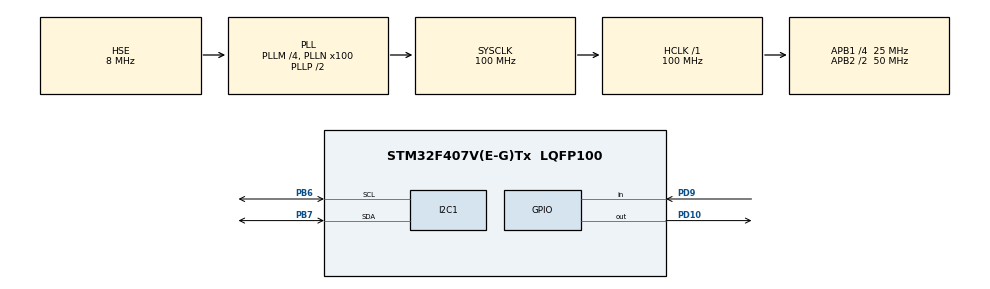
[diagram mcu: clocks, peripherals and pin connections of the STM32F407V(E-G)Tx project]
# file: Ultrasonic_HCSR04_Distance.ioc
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Mcu.Family=STM32F4
Mcu.Name=STM32F407V(E-G)Tx
Mcu.Package=LQFP100
NVIC.PriorityGroup=NVIC_PRIORITYGROUP_4
NVIC.TIM2_IRQn=true\:0\:0\:false\:false\:true\:true\:true\:true
PB6.Mode=I2C
PB6.Signal=I2C1_SCL
PB7.Mode=I2C
PB7.Signal=I2C1_SDA
PD10.Signal=GPIO_Output
PD9.Signal=GPIO_Input
PH0-OSC_IN.Mode=HSE-External-Oscillator
PH0-OSC_IN.Signal=RCC_OSC_IN
PH1-OSC_OUT.Mode=HSE-External-Oscillator
PH1-OSC_OUT.Signal=RCC_OSC_OUT
ProjectManager.HeapSize=0x200
ProjectManager.StackSize=0x400
ProjectManager.TargetToolchain=STM32CubeIDE
RCC.48MHZClocksFreq_Value=50000000
RCC.AHBFreq_Value=100000000
RCC.APB1CLKDivider=RCC_HCLK_DIV4
RCC.APB1Freq_Value=25000000
RCC.APB1TimFreq_Value=50000000
RCC.APB2CLKDivider=RCC_HCLK_DIV2
RCC.APB2Freq_Value=50000000
RCC.APB2TimFreq_Value=100000000
RCC.CortexFreq_Value=100000000
RCC.HCLKFreq_Value=100000000
RCC.HSE_VALUE=8000000
RCC.HSI_VALUE=16000000
RCC.LSE_VALUE=32768
RCC.PLLM=4
RCC.PLLN=100
RCC.PLLSourceVirtual=RCC_PLLSOURCE_HSE
RCC.SYSCLKFreq_VALUE=100000000
RCC.SYSCLKSource=RCC_SYSCLKSOURCE_PLLCLK
RCC.VCOOutputFreq_Value=200000000
TIM2.Prescaler=95
VP_TIM2_VS_ClockSourceINT.Mode=Internal
board=custom

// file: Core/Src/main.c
/* USER CODE BEGIN Header */
/**
  ******************************************************************************
  * @file           : main.c
  * @brief          : Main program body
  ******************************************************************************
  */
/* USER CODE END Header */
#include "main.h"

/* USER CODE BEGIN Includes */
#include "lcd_i2c.h"
/* USER CODE END Includes */

I2C_HandleTypeDef hi2c1;

TIM_HandleTypeDef htim2;

/* USER CODE BEGIN PV */
int Time_taken;
int distance;
/* USER CODE END PV */

void SystemClock_Config(void);
static void MX_GPIO_Init(void);
static void MX_I2C1_Init(void);
static void MX_TIM2_Init(void);

/* USER CODE BEGIN 0 */
void delay(int var)
{
	__HAL_TIM_SET_COUNTER(&htim2,0);
	while(__HAL_TIM_GET_COUNTER(&htim2) < var);
}
 // Track LED state
/* USER CODE END 0 */

int main(void)
{

  /* MCU Configuration--------------------------------------------------------*/

  /* Reset of all peripherals, Initializes the Flash interface and the Systick. */
  HAL_Init();

  /* Configure the system clock */
  SystemClock_Config();

  /* Initialize all configured peripherals */
  MX_GPIO_Init();
  MX_I2C1_Init();
  MX_TIM2_Init();
  /* USER CODE BEGIN 2 */
  HAL_TIM_Base_Start_IT(&htim2);
  LCD_Init(&hi2c1);
  /* USER CODE END 2 */

  /* Infinite loop */
  /* USER CODE BEGIN WHILE */

  while (1)
  {
	  LCD_Clear();
	  LCD_Set_Cursor(0,0);
	  LCD_Send_String("Distance:");

	  HAL_GPIO_WritePin(GPIOD, GPIO_PIN_10, GPIO_PIN_SET);
	  delay(10);
	  HAL_GPIO_WritePin(GPIOD, GPIO_PIN_10, GPIO_PIN_RESET);

	  while(HAL_GPIO_ReadPin(GPIOD, GPIO_PIN_9)== GPIO_PIN_RESET);
	  	  __HAL_TIM_SET_COUNTER(&htim2,0);

	  while(HAL_GPIO_ReadPin(GPIOD, GPIO_PIN_9)== GPIO_PIN_SET);
	  	  Time_taken = __HAL_TIM_GET_COUNTER(&htim2);

	  distance = (Time_taken * 0.0343) / 2;

	  LCD_Set_Cursor(0,9);
	  LCD_Send_Integer(distance);
	  LCD_Send_String(" cm");

	  HAL_Delay(1000);
    /* USER CODE END WHILE */

  }
}

void SystemClock_Config(void)
{
  RCC_OscInitTypeDef RCC_OscInitStruct = {0};
  RCC_ClkInitTypeDef RCC_ClkInitStruct = {0};

  /** Configure the main internal regulator output voltage
  */
  __HAL_RCC_PWR_CLK_ENABLE();
  __HAL_PWR_VOLTAGESCALING_CONFIG(PWR_REGULATOR_VOLTAGE_SCALE1);

  /** Initializes the RCC Oscillators according to the specified parameters
  * in the RCC_OscInitTypeDef structure.
  */
  RCC_OscInitStruct.OscillatorType = RCC_OSCILLATORTYPE_HSE;
  RCC_OscInitStruct.HSEState = RCC_HSE_ON;
  RCC_OscInitStruct.PLL.PLLState = RCC_PLL_ON;
  RCC_OscInitStruct.PLL.PLLSource = RCC_PLLSOURCE_HSE;
  RCC_OscInitStruct.PLL.PLLM = 4;
  RCC_OscInitStruct.PLL.PLLN = 100;
  RCC_OscInitStruct.PLL.PLLP = RCC_PLLP_DIV2;
  RCC_OscInitStruct.PLL.PLLQ = 4;
  if (HAL_RCC_OscConfig(&RCC_OscInitStruct) != HAL_OK)
  {
    Error_Handler();
  }

  /** Initializes the CPU, AHB and APB buses clocks
  */
  RCC_ClkInitStruct.ClockType = RCC_CLOCKTYPE_HCLK|RCC_CLOCKTYPE_SYSCLK
                              |RCC_CLOCKTYPE_PCLK1|RCC_CLOCKTYPE_PCLK2;
  RCC_ClkInitStruct.SYSCLKSource = RCC_SYSCLKSOURCE_PLLCLK;
  RCC_ClkInitStruct.AHBCLKDivider = RCC_SYSCLK_DIV1;
  RCC_ClkInitStruct.APB1CLKDivider = RCC_HCLK_DIV4;
  RCC_ClkInitStruct.APB2CLKDivider = RCC_HCLK_DIV2;

  if (HAL_RCC_ClockConfig(&RCC_ClkInitStruct, FLASH_LATENCY_3) != HAL_OK)
  {
    Error_Handler();
  }
}

static void MX_I2C1_Init(void)
{

  hi2c1.Instance = I2C1;
  hi2c1.Init.ClockSpeed = 100000;
  hi2c1.Init.DutyCycle = I2C_DUTYCYCLE_2;
  hi2c1.Init.OwnAddress1 = 0;
  hi2c1.Init.AddressingMode = I2C_ADDRESSINGMODE_7BIT;
  hi2c1.Init.DualAddressMode = I2C_DUALADDRESS_DISABLE;
  hi2c1.Init.OwnAddress2 = 0;
  hi2c1.Init.GeneralCallMode = I2C_GENERALCALL_DISABLE;
  hi2c1.Init.NoStretchMode = I2C_NOSTRETCH_DISABLE;
  if (HAL_I2C_Init(&hi2c1) != HAL_OK)
  {
    Error_Handler();
  }

}

static void MX_TIM2_Init(void)
{

  TIM_ClockConfigTypeDef sClockSourceConfig = {0};
  TIM_MasterConfigTypeDef sMasterConfig = {0};

  htim2.Instance = TIM2;
  htim2.Init.Prescaler = 95;
  htim2.Init.CounterMode = TIM_COUNTERMODE_UP;
  htim2.Init.Period = 4294967295;
  htim2.Init.ClockDivision = TIM_CLOCKDIVISION_DIV1;
  htim2.Init.AutoReloadPreload = TIM_AUTORELOAD_PRELOAD_DISABLE;
  if (HAL_TIM_Base_Init(&htim2) != HAL_OK)
  {
    Error_Handler();
  }
  sClockSourceConfig.ClockSource = TIM_CLOCKSOURCE_INTERNAL;
  if (HAL_TIM_ConfigClockSource(&htim2, &sClockSourceConfig) != HAL_OK)
  {
    Error_Handler();
  }
  sMasterConfig.MasterOutputTrigger = TIM_TRGO_RESET;
  sMasterConfig.MasterSlaveMode = TIM_MASTERSLAVEMODE_DISABLE;
  if (HAL_TIMEx_MasterConfigSynchronization(&htim2, &sMasterConfig) != HAL_OK)
  {
    Error_Handler();
  }

}

static void MX_GPIO_Init(void)
{
  GPIO_InitTypeDef GPIO_InitStruct = {0};

  /* GPIO Ports Clock Enable */
  __HAL_RCC_GPIOH_CLK_ENABLE();
  __HAL_RCC_GPIOD_CLK_ENABLE();
  __HAL_RCC_GPIOB_CLK_ENABLE();

  /*Configure GPIO pin Output Level */
  HAL_GPIO_WritePin(GPIOD, GPIO_PIN_10, GPIO_PIN_RESET);

  /*Configure GPIO pin : PD9 */
  GPIO_InitStruct.Pin = GPIO_PIN_9;
  GPIO_InitStruct.Mode = GPIO_MODE_INPUT;
  GPIO_InitStruct.Pull = GPIO_NOPULL;
  HAL_GPIO_Init(GPIOD, &GPIO_InitStruct);

  /*Configure GPIO pin : PD10 */
  GPIO_InitStruct.Pin = GPIO_PIN_10;
  GPIO_InitStruct.Mode = GPIO_MODE_OUTPUT_PP;
  GPIO_InitStruct.Pull = GPIO_NOPULL;
  GPIO_InitStruct.Speed = GPIO_SPEED_FREQ_LOW;
  HAL_GPIO_Init(GPIOD, &GPIO_InitStruct);

}

/* USER CODE BEGIN 4 */
void HAL_TIM_PeriodElapsedCallback(TIM_HandleTypeDef *htim)
{

}
/* USER CODE END 4 */

void Error_Handler(void)
{
  __disable_irq();
  while (1)
  {
  }
}
